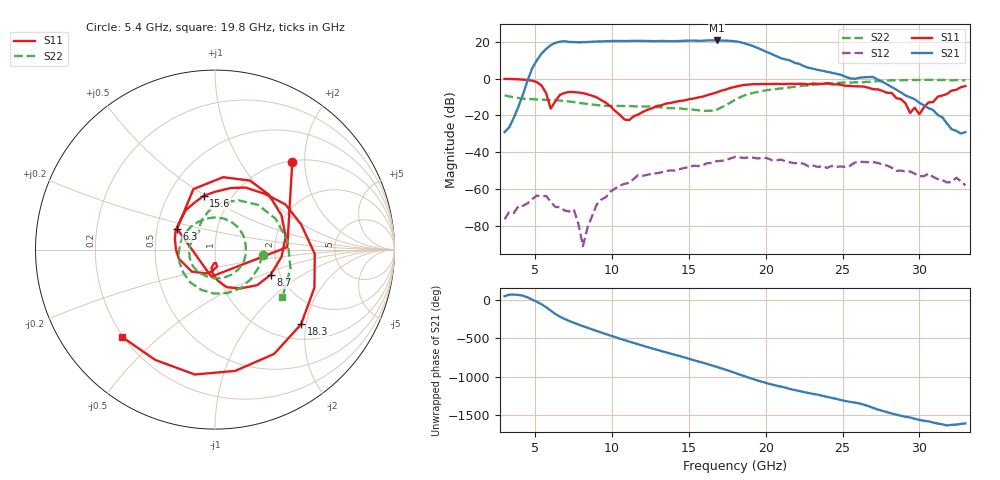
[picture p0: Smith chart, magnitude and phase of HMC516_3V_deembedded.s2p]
!Hittite Microwave Corporation
!20 Alpha Road
!Chelmsford, MA 01824
!Tel: 978-250-3343
!Fax: 978-250-3373
!Device: HMC516, 7-17 GHz, GaAs PHEMT MMIC Low Noise Amplifier Die
!Misc: Vdd1 = Vdd2 = Vdd3 = +3V, data includes two K connectors, Room
# MHZ S MA R 50
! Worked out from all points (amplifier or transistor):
!   101 points, 3 GHz to 33 GHz, reference 50 ohm
!   highest |S21| = 20.7 dB at 16.8 GHz (marker M1)
!   |S21| within 3 dB of that: 5.935 GHz to 19.15 GHz (13.22 GHz wide, 105 % of centre)
!   unconditionally stable (mu >= 1): start of sweep to end of sweep
!   at 7.8 GHz: K = 352.94, MAG = 20.7 dB, |S12| = -78.7 dB
!   at 18 GHz: K = 4.11, MAG = 22.4 dB, |S12| = -42.7 dB
!   at 33 GHz: K = 1460.63, MAG = -20.2 dB, |S12| = -58.1 dB
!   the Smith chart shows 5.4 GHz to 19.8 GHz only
!   S11 on the Smith chart (normalised r, x): 5.4 GHz: 1.03, +1.73; 6.3 GHz: 0.64, +0.16; 8.7 GHz: 1.78, -0.57; 15.6 GHz: 0.74, +0.49; 18.3 GHz: 1.34, -1.87; 19.8 GHz: 0.19, -0.38
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3000  0.975 -141.5  0.035 46.4  0.0001501 110.0  0.35 134.5
4800  0.872 109.4  1.904 2.3  0.0005332 72.2  0.274 27.0
5400  0.649 48.5  4.726 -57.7  0.0006287 30.1  0.267 -6.5
6000  0.152 -97.8  8.056 -140.1  0.0004558 0.6  0.259 -39.9
6300  0.241 151.1  9.295 176.4  0.0003235 -15.7  0.258 -56.9
6900  0.406 83.6  10.32 111.1  0.0002598 -3.0  0.245 -91.5
8100  0.4 10.1  9.664 17.5  2.789e-05 117.4  0.211 -159.7
8700  0.34 -24.5  9.978 -24.5  0.0001851 56.7  0.196 168.2
9900  0.174 -84.8  10.4 -105.5  0.0008468 60.8  0.18 106.3
11100  0.074 -86.8  10.46 178.4  0.001462 18.0  0.18 42.6
12300  0.141 -109.2  10.49 105.7  0.002429 -36.8  0.174 -23.6
13200  0.187 -152.4  10.47 54.5  0.002821 -70.1  0.164 -75.0
14400  0.245 153.3  10.43 -11.2  0.003462 -119.0  0.154 -143.9
15600  0.306 101.9  10.58 -80.8  0.00418 -175.3  0.137 158.3
16800  0.417 48.1  10.8 -151.4  0.005664 123.0  0.142 126.6
18000  0.593 -20.9  10.27 129.9  0.007359 51.1  0.263 82.5
18300  0.635 -41.0  9.796 108.7  0.007155 29.3  0.304 64.5
19800  0.711 -136.9  5.871 12.2  0.007059 -48.3  0.459 -35.1
21300  0.711 144.5  3.297 -62.1  0.005604 -121.6  0.556 -128.8
23100  0.732 70.4  1.84 -143.4  0.004283 179.9  0.678 144.6
28200  0.406 -111.6  0.587 -37.1  0.003771 -26.8  0.892 -32.0
33000  0.625 151.3  0.035 -166.3  0.00125 -126.3  0.889 144.9
